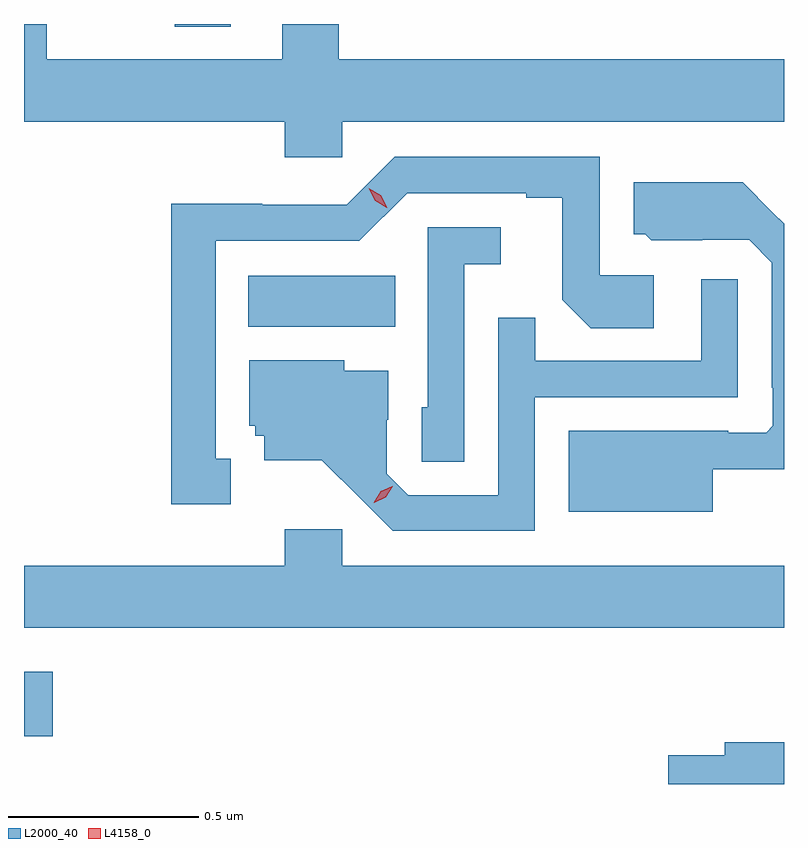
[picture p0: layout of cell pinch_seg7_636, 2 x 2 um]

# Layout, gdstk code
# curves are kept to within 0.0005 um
import gdstk
lib = gdstk.Library(unit=1e-6, precision=1e-09)
def R(c, l, rs):  # rectangles x0, y0, x1, y1
    for r in rs: c.add(gdstk.rectangle(r[:2], r[2:], *l))
def P(c, l, *ps):  # polygons
    for p in ps: c.add(gdstk.Polygon(p, *l))
L2000_40 = (2000, 40)
L4158_0 = (4158, 0)

pinch_seg7_636 = lib.new_cell('pinch_seg7_636')
R(pinch_seg7_636, L2000_40, [(147.435,1022.975,147.511,1023.145), (148.025,1024.052,148.412,1024.186), (147.832,1024.842,147.979,1024.849)])
P(pinch_seg7_636, L2000_40, [(148.272,1024.592),(149.435,1024.592),(149.435,1024.756),(148.263,1024.756),(148.263,1024.849),(148.115,1024.849),(148.115,1024.756),(147.495,1024.756),(147.495,1024.849),(147.435,1024.849),(147.435,1024.592),(148.121,1024.592),(148.121,1024.499),(148.272,1024.499)],
  [(147.979,1023.705),(147.94,1023.705),(147.94,1024.278),(148.317,1024.278),(148.443,1024.404),(148.757,1024.404),(148.757,1024.392),(148.851,1024.392),(148.851,1024.124),(148.927,1024.048),(149.092,1024.048),(149.092,1024.188),(148.95,1024.188),(148.95,1024.5),(148.41,1024.5),(148.284,1024.374),(148.062,1024.374),(148.062,1024.376),(147.822,1024.376),(147.822,1023.585),(147.979,1023.585)],
  [(149.248,1023.677),(149.435,1023.677),(149.435,1024.323),(149.327,1024.432),(149.039,1024.432),(149.039,1024.296),(149.07,1024.296),(149.086,1024.28),(149.22,1024.28),(149.22,1024.281),(149.343,1024.281),(149.403,1024.221),(149.403,1023.892),(149.406,1023.892),(149.406,1023.792),(149.388,1023.774),(149.288,1023.774),(149.288,1023.778),(148.868,1023.778),(148.868,1023.566),(149.248,1023.566)],
  [(148.593,1024.217),(148.69,1024.217),(148.69,1024.314),(148.497,1024.314),(148.497,1023.84),(148.482,1023.84),(148.482,1023.697),(148.593,1023.697)],
  [(148.779,1023.867),(149.313,1023.867),(149.313,1024.177),(149.217,1024.177),(149.217,1023.963),(148.781,1023.963),(148.781,1024.076),(148.683,1024.076),(148.683,1023.609),(148.446,1023.609),(148.389,1023.666),(148.389,1023.808),(148.393,1023.808),(148.393,1023.937),(148.278,1023.937),(148.278,1023.964),(148.028,1023.964),(148.028,1023.792),(148.044,1023.792),(148.044,1023.765),(148.067,1023.765),(148.067,1023.701),(148.219,1023.701),(148.406,1023.516),(148.779,1023.516)],
  [(149.435,1023.424),(148.272,1023.424),(148.272,1023.52),(148.121,1023.52),(148.121,1023.424),(147.435,1023.424),(147.435,1023.26),(149.435,1023.26)],
  [(149.435,1022.959),(149.279,1022.959),(149.279,1022.925),(149.13,1022.925),(149.13,1022.849),(149.435,1022.849)])
P(pinch_seg7_636, L4158_0, [(148.356,1023.589),(148.356,1023.589),(148.374,1023.619),(148.404,1023.633),(148.405,1023.633),(148.405,1023.633),(148.387,1023.604),(148.357,1023.589)],
  [(148.39,1024.365),(148.359,1024.384),(148.342,1024.417),(148.342,1024.417),(148.342,1024.417),(148.374,1024.398),(148.391,1024.365),(148.391,1024.365)])

lib.write_gds('pinch_seg7_636.gds')
